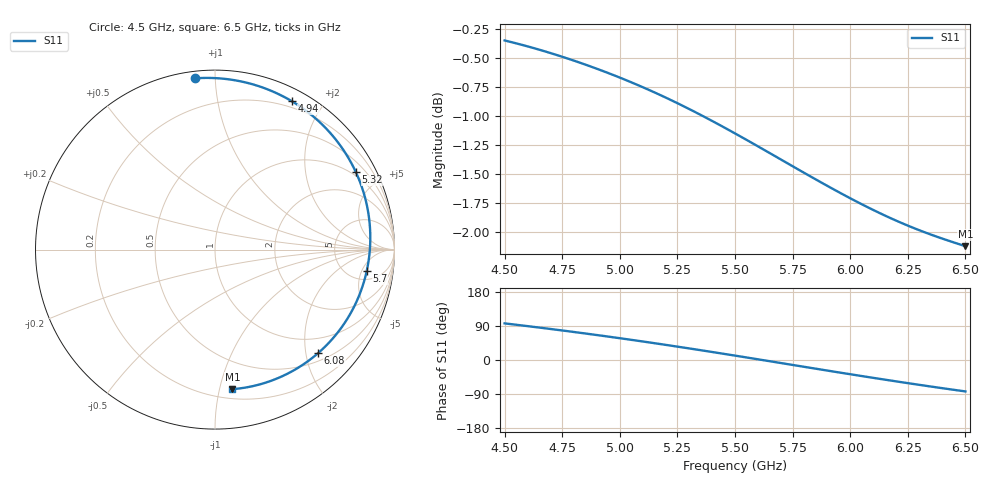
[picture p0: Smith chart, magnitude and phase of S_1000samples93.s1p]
! TOUCHSTONE file generated by CST MICROWAVE STUDIO
! Date and time: Wed Oct 26 23:37:02 2022
! Project name: L.cst
! Parameters = {Di=1.27; Epsilon_r=1.56; InnerDiameter=1.27; Length=2; Lf=10; Lg=60; OuterConductorThickness=0.2921; OuterDiameter=3.6; Wf=3; Wp=41.2; de=1.5; df=6.8; g=0.8; gx=3.19914; gy=4.65239; h=2.34; hf=1.524; px=10.7708; py=9.51034; w=9.7; wx=7.57161; wy=4.85795}
! Header version: 2018
! Port assignment regex: !\s*Touchstone port\s*([0-9]+)\s*=\s*(CST MWS port|CST DS port)\s*([0-9]+|Zmin|Zmax)\s*\(\"(.*)\"\)(\s*mode\s*([0-9]+))?.*
! Touchstone port assignment:
! Touchstone port 1 = CST MWS port 1 ("")
# GHz S DB R 50
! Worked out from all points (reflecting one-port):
!   101 points, 4.5 GHz to 6.5 GHz, reference 50 ohm
!   lowest |S11| = -2.1 dB at 6.5 GHz (marker M1), VSWR 8.24, Z = 13.6 - j54.7 ohm
!   phase of S11 starts at 97 deg and turns -180 deg over the sweep
!   S11 on the Smith chart (normalised r, x): 4.5 GHz: 0.04, +0.89; 4.94 GHz: 0.13, +1.64; 5.32 GHz: 0.85, +3.71; 5.7 GHz: 7.08, -6.25; 6.08 GHz: 0.65, -2.24; 6.5 GHz: 0.27, -1.09
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4.5  -0.35 96.6
4.58  -0.39 90.8
4.64  -0.42 86.4
4.7  -0.46 81.8
4.76  -0.50 77.1
4.86  -0.56 69.2
4.94  -0.62 62.6
5  -0.67 57.5
5.06  -0.72 52.3
5.12  -0.77 47.1
5.2  -0.84 39.9
5.26  -0.90 34.4
5.32  -0.96 28.8
5.42  -1.06 19.3
5.5  -1.15 11.6
5.6  -1.26 1.8
5.7  -1.37 -8.1
5.76  -1.44 -14.0
5.82  -1.51 -19.9
5.88  -1.58 -25.8
6  -1.71 -37.5
6.08  -1.79 -45.2
6.16  -1.86 -52.7
6.26  -1.95 -61.9
6.32  -2.00 -67.3
6.38  -2.04 -72.6
6.44  -2.08 -77.8
6.5  -2.12 -82.9
